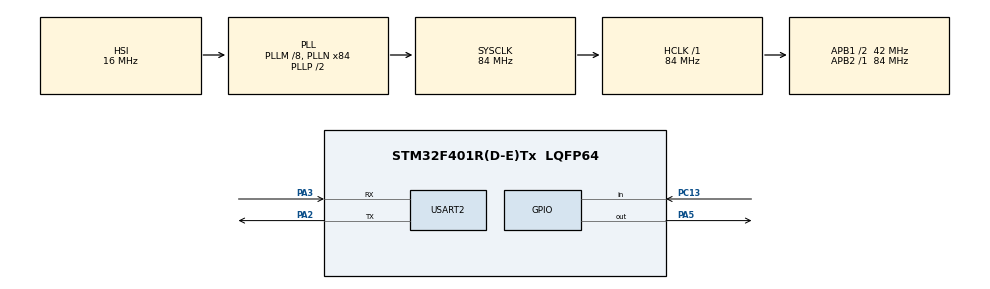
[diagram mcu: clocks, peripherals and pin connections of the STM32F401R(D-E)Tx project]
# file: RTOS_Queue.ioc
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FREERTOS.Tasks01=defaultTask,0,128,StartDefaultTask,Default,NULL,Dynamic,NULL,NULL
Mcu.Family=STM32F4
Mcu.Name=STM32F401R(D-E)Tx
Mcu.Package=LQFP64
NVIC.PriorityGroup=NVIC_PRIORITYGROUP_4
NVIC.TIM3_IRQn=true\:0\:0\:false\:false\:true\:false\:false\:true
NVIC.TimeBase=TIM3_IRQn
NVIC.TimeBaseIP=TIM3
NVIC.USART2_IRQn=true\:5\:0\:false\:false\:true\:true\:true\:true
PA2.Mode=Asynchronous
PA2.Signal=USART2_TX
PA3.Mode=Asynchronous
PA3.Signal=USART2_RX
PA5.Signal=GPIO_Output
PC13-ANTI_TAMP.Signal=GPIO_Input
PH0\ -\ OSC_IN.Mode=HSE-External-Oscillator
PH0\ -\ OSC_IN.Signal=RCC_OSC_IN
PH1\ -\ OSC_OUT.Mode=HSE-External-Oscillator
PH1\ -\ OSC_OUT.Signal=RCC_OSC_OUT
ProjectManager.HeapSize=0x200
ProjectManager.StackSize=0x400
ProjectManager.TargetToolchain=STM32CubeIDE
RCC.48MHZClocksFreq_Value=42000000
RCC.AHBFreq_Value=84000000
RCC.APB1CLKDivider=RCC_HCLK_DIV2
RCC.APB1Freq_Value=42000000
RCC.APB1TimFreq_Value=84000000
RCC.APB2Freq_Value=84000000
RCC.APB2TimFreq_Value=84000000
RCC.CortexFreq_Value=84000000
RCC.HCLKFreq_Value=84000000
RCC.HSE_VALUE=8000000
RCC.HSI_VALUE=16000000
RCC.LSE_VALUE=32768
RCC.PLLM=8
RCC.PLLN=84
RCC.SYSCLKFreq_VALUE=84000000
RCC.SYSCLKSource=RCC_SYSCLKSOURCE_PLLCLK
RCC.VCOOutputFreq_Value=168000000
USART2.VirtualMode=VM_ASYNC
VP_FREERTOS_VS_CMSIS_V1.Mode=CMSIS_V1
VP_SYS_VS_tim3.Mode=TIM3
board=custom

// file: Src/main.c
/* USER CODE BEGIN Header */
/**
  ******************************************************************************
  * @file           : main.c
  * @brief          : Main program body
  ******************************************************************************
  * @attention
  *
  * <h2><center>&copy; Copyright (c) 2021 STMicroelectronics.
  * All rights reserved.</center></h2>
  *
  * This software component is licensed by ST under Ultimate Liberty license
  * SLA0044, the "License"; You may not use this file except in compliance with
  * the License. You may obtain a copy of the License at:
  *                             www.st.com/SLA0044
  *
  ******************************************************************************
  */
/* USER CODE END Header */
#include "main.h"

#include "FreeRTOS.h"
#include "task.h"
#include "timers.h"
#include "queue.h"
#include "semphr.h"
#include "event_groups.h"

#include "stdio.h"
#include "string.h"

UART_HandleTypeDef huart2;

/* USER CODE BEGIN PV */
/********************Handles create********************************************/
TaskHandle_t HPT_Handle;
TaskHandle_t LPT_Handle;
TaskHandle_t Recv_PT_Handle;

xQueueHandle SimpleQueue;

/* USER CODE END PV */

void SystemClock_Config(void);
static void MX_GPIO_Init(void);
static void MX_USART2_UART_Init(void);

/********************task function prototype create********************************************/

void Sender_HPT(void *argument);
void Sender_LPT(void *argument);
void Recv(void *argument);

/* USER CODE BEGIN 0 */
uint8_t rcv_data=0;

/* USER CODE END 0 */

int main(void)
{

  /* MCU Configuration--------------------------------------------------------*/

  /* Reset of all peripherals, Initializes the Flash interface and the Systick. */
  HAL_Init();

  /* Configure the system clock */
  SystemClock_Config();

  /* Initialize all configured peripherals */
  MX_GPIO_Init();
  MX_USART2_UART_Init();

  /**************************create Queue*****************************************/
  SimpleQueue= xQueueCreate(5,sizeof(int));
  if(SimpleQueue==0){
	  HAL_UART_Transmit(&huart2, (uint8_t)"Queue Failed to create /r/n", 12, 300);
  }
  else{
	  HAL_UART_Transmit(&huart2, (uint8_t)"Queue Create successfully/r/n", 12, 300);
  }

  /**************************create Tasks*****************************************/

  xTaskCreate(Sender_HPT, "Sender_HPT", 128, NULL, 3, &HPT_Handle);
  xTaskCreate(Sender_LPT, "Sender_LPT", 128, 0, 2, &LPT_Handle);
  xTaskCreate(Recv, "Recv", 128, NULL, 1, &Recv_PT_Handle);
  /* Start scheduler */

  HAL_UART_Receive_IT(&huart2, &rcv_data, 1);

 vTaskStartScheduler();

  /* We should never get here as control is now taken by the scheduler */
  /* Infinite loop */
  while (1)
  {

  }
}

void SystemClock_Config(void)
{
  RCC_OscInitTypeDef RCC_OscInitStruct = {0};
  RCC_ClkInitTypeDef RCC_ClkInitStruct = {0};

  /** Configure the main internal regulator output voltage
  */
  __HAL_RCC_PWR_CLK_ENABLE();
  __HAL_PWR_VOLTAGESCALING_CONFIG(PWR_REGULATOR_VOLTAGE_SCALE2);
  /** Initializes the RCC Oscillators according to the specified parameters
  * in the RCC_OscInitTypeDef structure.
  */
  RCC_OscInitStruct.OscillatorType = RCC_OSCILLATORTYPE_HSI;
  RCC_OscInitStruct.HSIState = RCC_HSI_ON;
  RCC_OscInitStruct.HSICalibrationValue = RCC_HSICALIBRATION_DEFAULT;
  RCC_OscInitStruct.PLL.PLLState = RCC_PLL_ON;
  RCC_OscInitStruct.PLL.PLLSource = RCC_PLLSOURCE_HSI;
  RCC_OscInitStruct.PLL.PLLM = 8;
  RCC_OscInitStruct.PLL.PLLN = 84;
  RCC_OscInitStruct.PLL.PLLP = RCC_PLLP_DIV2;
  RCC_OscInitStruct.PLL.PLLQ = 4;
  if (HAL_RCC_OscConfig(&RCC_OscInitStruct) != HAL_OK)
  {
    Error_Handler();
  }
  /** Initializes the CPU, AHB and APB buses clocks
  */
  RCC_ClkInitStruct.ClockType = RCC_CLOCKTYPE_HCLK|RCC_CLOCKTYPE_SYSCLK
                              |RCC_CLOCKTYPE_PCLK1|RCC_CLOCKTYPE_PCLK2;
  RCC_ClkInitStruct.SYSCLKSource = RCC_SYSCLKSOURCE_PLLCLK;
  RCC_ClkInitStruct.AHBCLKDivider = RCC_SYSCLK_DIV1;
  RCC_ClkInitStruct.APB1CLKDivider = RCC_HCLK_DIV2;
  RCC_ClkInitStruct.APB2CLKDivider = RCC_HCLK_DIV1;

  if (HAL_RCC_ClockConfig(&RCC_ClkInitStruct, FLASH_LATENCY_2) != HAL_OK)
  {
    Error_Handler();
  }
}

static void MX_USART2_UART_Init(void)
{

  huart2.Instance = USART2;
  huart2.Init.BaudRate = 115200;
  huart2.Init.WordLength = UART_WORDLENGTH_8B;
  huart2.Init.StopBits = UART_STOPBITS_1;
  huart2.Init.Parity = UART_PARITY_NONE;
  huart2.Init.Mode = UART_MODE_TX_RX;
  huart2.Init.HwFlowCtl = UART_HWCONTROL_NONE;
  huart2.Init.OverSampling = UART_OVERSAMPLING_16;
  if (HAL_UART_Init(&huart2) != HAL_OK)
  {
    Error_Handler();
  }

}

static void MX_GPIO_Init(void)
{
  GPIO_InitTypeDef GPIO_InitStruct = {0};

  /* GPIO Ports Clock Enable */
  __HAL_RCC_GPIOC_CLK_ENABLE();
  __HAL_RCC_GPIOH_CLK_ENABLE();
  __HAL_RCC_GPIOA_CLK_ENABLE();

  /*Configure GPIO pin Output Level */
  HAL_GPIO_WritePin(GPIOA, GPIO_PIN_5, GPIO_PIN_RESET);

  /*Configure GPIO pin : PC13 */
  GPIO_InitStruct.Pin = GPIO_PIN_13;
  GPIO_InitStruct.Mode = GPIO_MODE_INPUT;
  GPIO_InitStruct.Pull = GPIO_NOPULL;
  HAL_GPIO_Init(GPIOC, &GPIO_InitStruct);

  /*Configure GPIO pin : PA5 */
  GPIO_InitStruct.Pin = GPIO_PIN_5;
  GPIO_InitStruct.Mode = GPIO_MODE_OUTPUT_PP;
  GPIO_InitStruct.Pull = GPIO_NOPULL;
  GPIO_InitStruct.Speed = GPIO_SPEED_FREQ_LOW;
  HAL_GPIO_Init(GPIOA, &GPIO_InitStruct);

}

/* USER CODE BEGIN 4 */

void Sender_HPT(void *argument){
	int i=222;
		uint32_t TickDelay = pdMS_TO_TICKS(2000);
		while (1)
		{
			if (xQueueSend(SimpleQueue, &i, portMAX_DELAY) == pdPASS)
			{
				char *str2 = " Successfully sent the number to the queue\r\nLeaving SENDER_HPT Task\r\n\n\n";
				HAL_UART_Transmit(&huart2, (uint8_t *)str2, strlen (str2), HAL_MAX_DELAY);
			}
			vTaskDelay(TickDelay);
		}
}
void Sender_LPT(void *argument){

	int j=111;
		uint32_t TickDelay = pdMS_TO_TICKS(1000);
		while (1)
		{
			if (xQueueSend(SimpleQueue, &j, portMAX_DELAY) == pdPASS)
			{
				char *str2 = " Successfully sent the number to the queue\r\nLeaving SENDER_LPT Task\r\n\n\n";
				HAL_UART_Transmit(&huart2, (uint8_t *)str2, strlen (str2), HAL_MAX_DELAY);
			}
			vTaskDelay(TickDelay);
		}

}
void Recv(void *argument){
	int received=0;
	char str[100];
		uint32_t TickDelay = pdMS_TO_TICKS(1000);
		while (1)
		{
			if (xQueueReceive(SimpleQueue, &received, portMAX_DELAY) != pdTRUE)
			{
				HAL_UART_Transmit(&huart2, (uint8_t *)"Error in Receiving from Queue\r\n\n", 31, 1000);
			}
			else
			{
				sprintf(str, " Successfully RECEIVED the number %d to the queue\nLeaving RECEIVER Task\r\n\n\n",received);
				HAL_UART_Transmit(&huart2, (uint8_t *)str, strlen (str), HAL_MAX_DELAY);
			}
			vTaskDelay(TickDelay);
		}
}

void HAL_UART_RxCpltCallback(UART_HandleTypeDef *huart)
{
	HAL_UART_Receive_IT(huart, &rcv_data, 1);
	int ToSend = 123456789;
	if (rcv_data == 'r')
	{
		 /* The xHigherPriorityTaskWoken parameter must be initialized to pdFALSE as
		 it will get set to pdTRUE inside the interrupt safe API function if a
		 context switch is required. */
		BaseType_t xHigherPriorityTaskWoken = pdFALSE;

		if (xQueueSendToFrontFromISR(SimpleQueue, &ToSend, &xHigherPriorityTaskWoken) == pdPASS)
		{
			HAL_UART_Transmit(huart, (uint8_t *)"\n\r Sent from ISR\n\n", 17, 500);
		}

		/* Pass the xHigherPriorityTaskWoken value into portEND_SWITCHING_ISR(). If
		 xHigherPriorityTaskWoken was set to pdTRUE inside xSemaphoreGiveFromISR()
		 then calling portEND_SWITCHING_ISR() will request a context switch. If
		 xHigherPriorityTaskWoken is still pdFALSE then calling
		 portEND_SWITCHING_ISR() will have no effect */

		portEND_SWITCHING_ISR(xHigherPriorityTaskWoken);
	}
}

/* USER CODE END 4 */

 /**
  * @brief  Period elapsed callback in non blocking mode
  * @note   This function is called  when TIM3 interrupt took place, inside
  * HAL_TIM_IRQHandler(). It makes a direct call to HAL_IncTick() to increment
  * a global variable "uwTick" used as application time base.
  * @param  htim : TIM handle
  * @retval None
  */
void HAL_TIM_PeriodElapsedCallback(TIM_HandleTypeDef *htim)
{
  if (htim->Instance == TIM3) {
    HAL_IncTick();
  }
}

void Error_Handler(void)
{
  __disable_irq();
  while (1)
  {
  }
}

/************************ (C) COPYRIGHT STMicroelectronics *****END OF FILE****/
